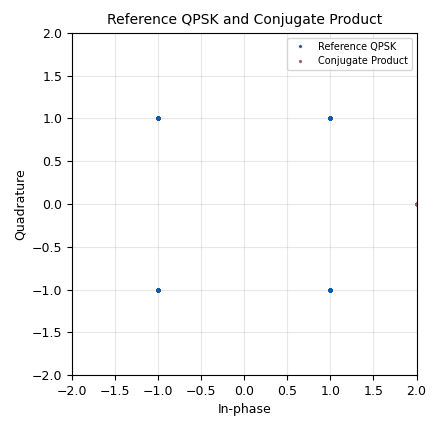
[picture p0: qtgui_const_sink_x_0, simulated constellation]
options:
  parameters:
    generate_options: qt_gui
    id: exp2
    output_language: python
    title: Conjugate Product
  states: {}

blocks:
- name: phase_offset
  id: variable_qtgui_range
  parameters:
    label: Carrier Phase Offset (deg)
    start: '-180'
    step: '5'
    stop: '180'
    value: '0'
  states: {}
- name: samp_rate
  id: variable
  parameters:
    value: '32000'
  states: {}
- name: analog_random_source_x_0
  id: analog_random_source_x
  parameters:
    max: '2'
    min: '0'
    num_samps: '1000'
    repeat: 'True'
    type: byte
  states: {}
- name: analog_random_source_x_0_0
  id: analog_random_source_x
  parameters:
    max: '2'
    min: '0'
    num_samps: '1000'
    repeat: 'True'
    type: byte
  states: {}
- name: blocks_complex_to_arg_0
  id: blocks_complex_to_arg
  parameters: {}
  states: {}
- name: blocks_float_to_complex_0
  id: blocks_float_to_complex
  parameters: {}
  states: {}
- name: blocks_multiply_conjugate_cc_0
  id: blocks_multiply_conjugate_cc
  parameters: {}
  states: {}
- name: blocks_multiply_const_vxx_0
  id: blocks_multiply_const_vxx
  parameters:
    const: math.cos(math.radians(phase_offset)) + 1j*math.sin(math.radians(phase_offset))
    type: complex
  states: {}
- name: blocks_multiply_const_vxx_1
  id: blocks_multiply_const_vxx
  parameters:
    const: 180/math.pi
    type: float
  states: {}
- name: blocks_throttle2_0
  id: blocks_throttle2
  parameters:
    samples_per_second: samp_rate
    type: complex
  states: {}
- name: digital_chunks_to_symbols_xx_0
  id: digital_chunks_to_symbols_xx
  parameters:
    dimension: '1'
    in_type: byte
    out_type: float
    symbol_table: '[-1,1]'
  states: {}
- name: digital_chunks_to_symbols_xx_0_0
  id: digital_chunks_to_symbols_xx
  parameters:
    dimension: '1'
    in_type: byte
    out_type: float
    symbol_table: '[-1,1]'
  states: {}
- name: import_0
  id: import
  parameters:
    imports: import math
  states: {}
- name: qtgui_const_sink_x_0
  id: qtgui_const_sink_x
  parameters:
    grid: 'True'
    label1: Reference QPSK
    label2: Conjugate Product
    name: Reference QPSK and Conjugate Product
    nconnections: '2'
    size: '1024'
    type: complex
    width1: '5'
    width2: '5'
  states: {}
- name: qtgui_number_sink_0
  id: qtgui_number_sink
  parameters:
    graph_type: qtgui.NUM_GRAPH_HORIZ
    label1: Phase Difference (deg)
    max: '180'
    min: '-180'
    name: Estimated Carrier Phase Offset
    type: float
  states: {}

connections:
- [analog_random_source_x_0, '0', digital_chunks_to_symbols_xx_0, '0']
- [analog_random_source_x_0_0, '0', digital_chunks_to_symbols_xx_0_0, '0']
- [blocks_complex_to_arg_0, '0', blocks_multiply_const_vxx_1, '0']
- [blocks_float_to_complex_0, '0', blocks_throttle2_0, '0']
- [blocks_multiply_conjugate_cc_0, '0', blocks_complex_to_arg_0, '0']
- [blocks_multiply_conjugate_cc_0, '0', qtgui_const_sink_x_0, '1']
- [blocks_multiply_const_vxx_0, '0', blocks_multiply_conjugate_cc_0, '0']
- [blocks_multiply_const_vxx_1, '0', qtgui_number_sink_0, '0']
- [blocks_throttle2_0, '0', blocks_multiply_conjugate_cc_0, '1']
- [blocks_throttle2_0, '0', blocks_multiply_const_vxx_0, '0']
- [blocks_throttle2_0, '0', qtgui_const_sink_x_0, '0']
- [digital_chunks_to_symbols_xx_0, '0', blocks_float_to_complex_0, '0']
- [digital_chunks_to_symbols_xx_0_0, '0', blocks_float_to_complex_0, '1']

metadata:
  file_format: 1
  grc_version: 3.10.12.0
